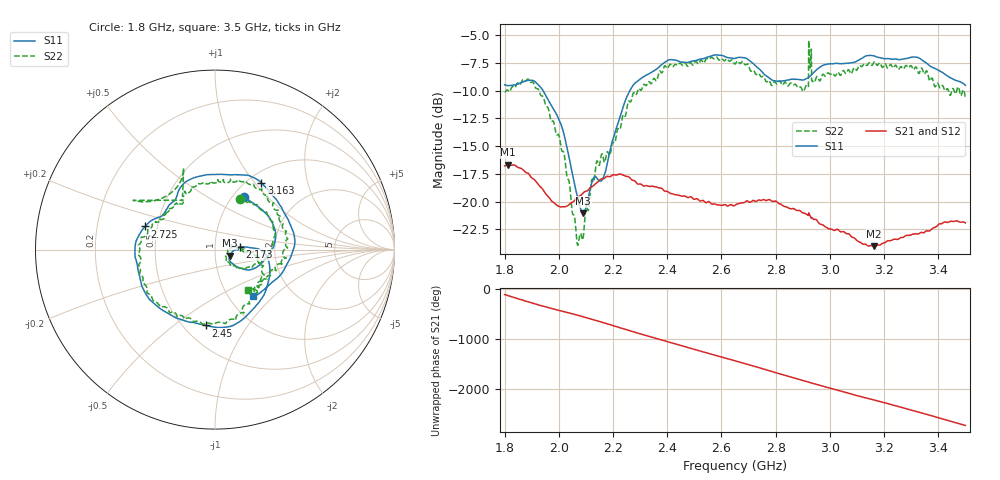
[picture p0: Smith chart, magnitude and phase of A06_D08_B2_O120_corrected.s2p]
! Created with skrf 1.9.0 (http://scikit-rf.org).
# Hz S RI R 50.0
!freq ReS11 ImS11 ReS21 ImS21 ReS12 ImS12 ReS22 ImS22
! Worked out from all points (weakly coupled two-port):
!   1601 points, 1.8 GHz to 3.5 GHz, reference 50 ohm
!   highest |S21| = -16.68 dB at 1.812 GHz (marker M1); lowest = -24.0 dB at 3.163 GHz (marker M2)
!   lowest |S11| = -21.0 dB at 2.09 GHz (marker M3), VSWR 1.19, Z = 58.8 - j4.06 ohm
!   |S11| at or under -10 dB: 1.942 GHz to 2.262 GHz (320.2 MHz wide, 15.2 % of centre)
!   |S22| runs from -23.9 to -5.5 dB; largest |S21 - S12| = 0.003
!   S11 on the Smith chart (normalised r, x): 1.8 GHz: 1.13, +0.75; 2.173 GHz: 1.32, +0.04; 2.45 GHz: 0.64, -0.66; 2.725 GHz: 0.43, +0.13; 3.163 GHz: 1.15, +1.08; 3.5 GHz: 1.28, -0.75
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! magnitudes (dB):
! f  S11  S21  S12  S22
! 1.8 GHz  -9.5  -16.8  -16.8  -10.1
! 1.812 GHz  -9.5  -16.7  -16.7  -10.0
! 1.887 GHz  -9.1  -17.5  -17.5  -9.0
! 1.941 GHz  -10.0  -18.9  -18.9  -10.5
! 2.011 GHz  -13.3  -20.5  -20.5  -15.4
! 2.067 GHz  -19.4  -19.7  -19.7  -23.6
! 2.084 GHz  -20.9  -19.4  -19.3  -23.1
! 2.09 GHz  -21.0  -19.2  -19.3  -23.2
! 2.139 GHz  -17.8  -18.3  -18.3  -16.4
! 2.173 GHz  -17.2  -17.8  -17.9  -16.1
! 2.26 GHz  -10.1  -17.8  -17.8  -10.9
! 2.367 GHz  -7.9  -18.8  -18.7  -8.5
! 2.45 GHz  -7.4  -19.5  -19.5  -7.6
! 2.65 GHz  -7.1  -20.3  -20.3  -7.6
! 2.725 GHz  -7.7  -20.0  -20.0  -8.5
! 2.792 GHz  -9.1  -20.0  -20.0  -9.3
! 2.901 GHz  -9.0  -21.0  -21.0  -10.1
! 2.934 GHz  -8.5  -21.5  -21.4  -9.1
! 3.163 GHz  -6.9  -24.0  -24.0  -7.4
! 3.217 GHz  -7.1  -23.5  -23.5  -7.9
! 3.325 GHz  -7.0  -22.9  -22.9  -8.3
! 3.5 GHz  -9.5  -21.9  -21.9  -10.7
